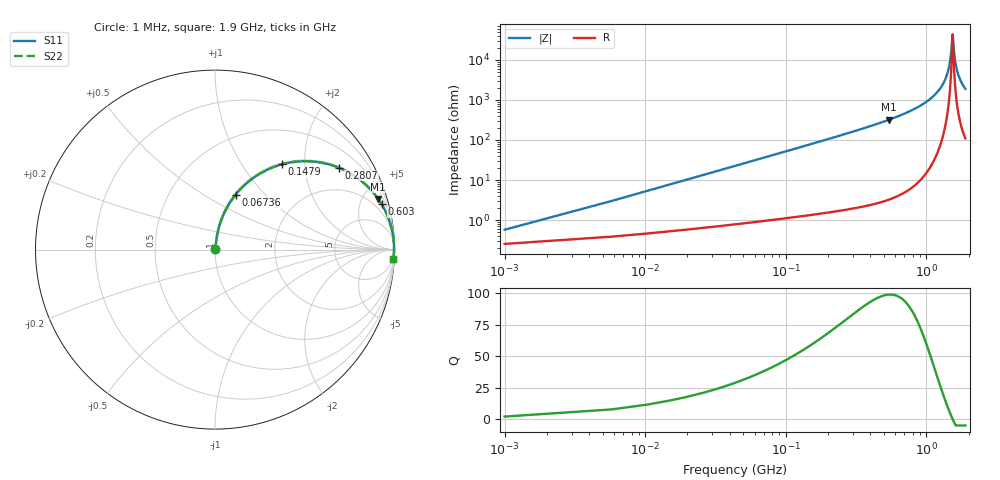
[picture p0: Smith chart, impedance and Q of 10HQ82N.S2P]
! Coilcraft 1008HQ-82N Chip Inductor
! 10 July 2002
# MHZ S MA R 50
!Freq  MagS11  AngS11  MagS21  AngS21  MagS12  AngS12  MagS22  AngS22
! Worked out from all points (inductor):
!   402 points, 1 MHz to 1.9 GHz, reference 50 ohm
!   read as one part in series: L = 82 nH near 10.48 MHz
!   highest Q = 98.7 at 546.1 MHz (marker M1), where L = 93.8 nH
!   self-resonance near 1.542 GHz
!   S11 on the Smith chart (normalised r, x): 1 MHz: 1.01, +0.01; 67.36 MHz: 1.02, +0.70; 147.9 MHz: 1.03, +1.54; 280.7 MHz: 1.04, +2.99; 603 MHz: 1.07, +7.34; 1.9 GHz: 3, -38
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1  0.00573 63.5  0.9975 -0.3  0.9975 -0.3  0.00573 63.5
15.22  0.07795 81.7  0.9917 -4.5  0.9917 -4.5  0.07795 81.7
24.7  0.1257 80.0  0.9859 -7.2  0.9859 -7.2  0.1257 80.0
43.66  0.2181 75.4  0.9684 -12.6  0.9684 -12.6  0.2181 75.4
67.36  0.3258 69.5  0.9367 -19.0  0.9367 -19.0  0.3258 69.5
147.94  0.6048 51.8  0.786 -37.2  0.786 -37.2  0.6048 51.8
280.66  0.8266 33.5  0.5526 -55.7  0.5526 -55.7  0.8266 33.5
318.58  0.8595 30.1  0.5012 -59.2  0.5012 -59.2  0.8595 30.1
546.1  0.9522 17.2  0.2959 -72.2  0.2959 -72.2  0.9522 17.2
602.98  0.9623 15.2  0.2624 -74.2  0.2624 -74.2  0.9623 15.2
636.16  0.9671 14.2  0.2448 -75.2  0.2448 -75.2  0.9671 14.2
953.74  0.9904 7.1  0.1244 -82.0  0.1244 -82.0  0.9904 7.1
1271.32  0.9968 2.8  0.04872 -84.9  0.04872 -84.9  0.9968 2.8
1375.6  0.9975 1.6  0.02875 -84.2  0.02875 -84.2  0.9975 1.6
1446.7  0.9977 0.9  0.01612 -81.3  0.01612 -81.3  0.9977 0.9
1494.1  0.9977 0.5  0.008181 -73.6  0.008181 -73.6  0.9977 0.5
1541.5  0.9977 0.0  0.002323 -0.5  0.002323 -0.5  0.9977 0.0
1550.98  0.9977 -0.1  0.00279 32.9  0.00279 32.9  0.9977 -0.1
1584.16  0.9976 -0.4  0.007244 70.3  0.007244 70.3  0.9976 -0.4
1626.82  0.9974 -0.8  0.01374 78.8  0.01374 78.8  0.9974 -0.8
1693.18  0.9971 -1.4  0.02372 82.3  0.02372 82.3  0.9971 -1.4
1900  0.9955 -3.0  0.05285 83.6  0.05285 83.6  0.9955 -3.0
